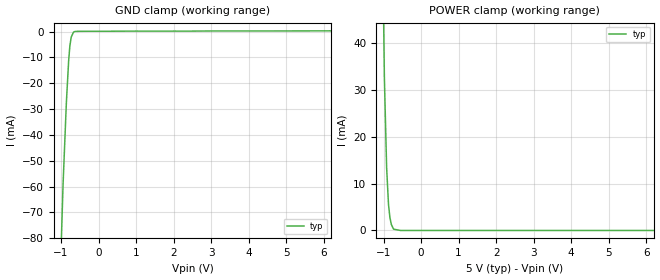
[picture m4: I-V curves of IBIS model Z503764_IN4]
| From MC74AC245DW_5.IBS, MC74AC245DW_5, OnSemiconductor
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| (C) COPYRIGHT 1993-2000
| MENTOR GRAPHICS CORPORATION
| ICX STANDARD LIBRARY, ICX PROJECT MODELING,
| ICX CUSTOM MODELING, ICX VENDOR MODEL
| ALL RIGHTS RESERVED.
| THE FOLLOWING ARE TRADEMARKS OR SERVICE MARKS OF
| MENTOR GRAPHICS CORPORATION:ICX (R), ICX STANDARD
| LIBRARY(R), ICX PROJECT MODELING(R), ICX CUSTOM
| MODELING(R), qualityIBIS(TM), MODELVIEWER(TM),
| AND MODELEDITOR(TM)
| ALL COPIES OF SOFTWARE, INCLUDING BUT NOT LIMITED TO
| ANY MODIFICATIONS, ENHANCEMENTS OR DERIVATIVE WORKS,
| MUST CONTAIN ALL MENTOR GRAPHICS CORPORATION'S
| NOTICES AND LEGENDS, INCLUDING THOSE EMBEDDED IN
| SOFTWARE AND THOSE AFFIXED TO SOFTWARE MEDIUM
| AND CONTAINER, AS RECEIVED FROM MENTOR GRAPHICS
| CORPORATION.
| Model Application Version 1.89 2/18/99.
[Model] Z503764_IN4
Model_type Input
Vinl = 1.500V
Vinh = 3.500V
C_comp 4.000pF NA NA
| variable typ   min   max
[Voltage Range] 5.000V NA NA
[GND Clamp Reference] 0.000V NA NA
[POWER Clamp Reference] 5.000V NA NA
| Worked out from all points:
|   GND clamp passes 1 mA (typ) near -0.69 V on its own axis
|   POWER clamp passes 1 mA (typ) near -0.78 V on its own axis
[GND Clamp]
-5V       -3.144A    NA         NA
-1.01V    -89.66mA   NA         NA
-946.1mV  -59.25mA   NA         NA
-858.4mV  -27.71mA   NA         NA
-797mV    -11.3mA    NA         NA
-765.5mV  -5.667mA   NA         NA
-729.8mV  -2.206mA   NA         NA
-667.5mV  -234.6uA   NA         NA
-628.4mV  26.39uA    NA         NA
10V       390.1uA    NA         NA
[POWER Clamp]
-5V       4.423A     NA         NA
-1.25V    244.1mA    NA         NA
-1.11V    114.7mA    NA         NA
-978mV    32.87mA    NA         NA
-918mV    13.52mA    NA         NA
-868mV    5.599mA    NA         NA
-831mV    2.809mA    NA         NA
-792mV    1.282mA    NA         NA
-732mV    276.1uA    NA         NA
-549mV    0A         NA         NA
10V       0A         NA         NA
